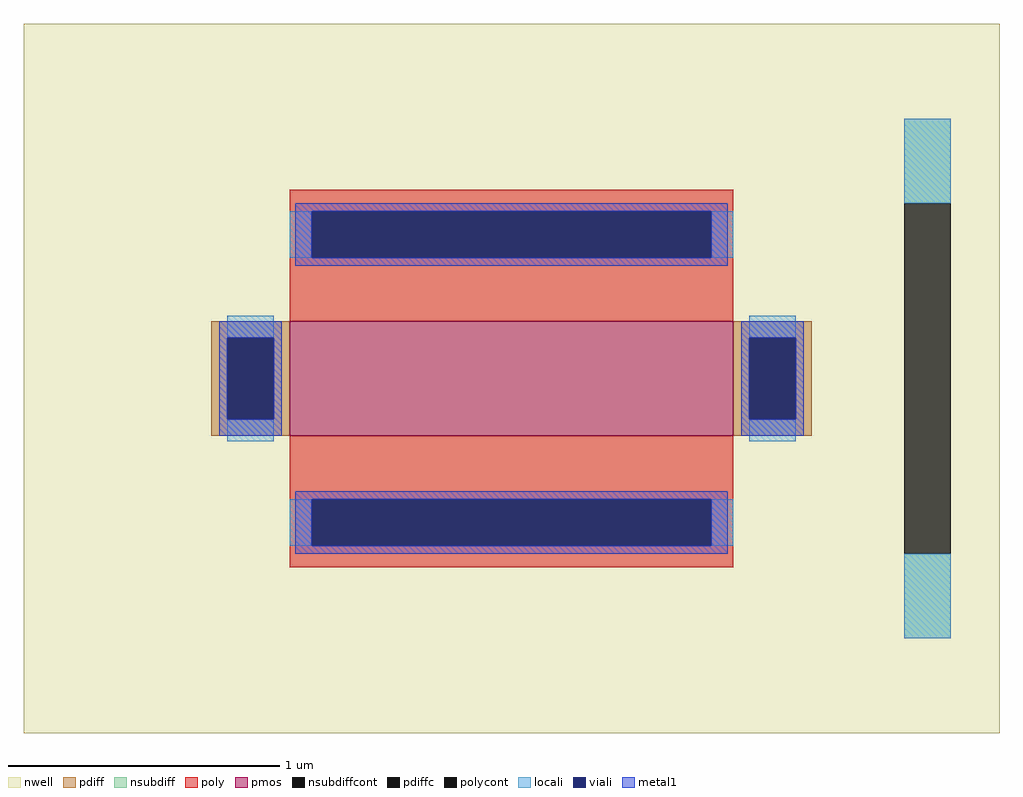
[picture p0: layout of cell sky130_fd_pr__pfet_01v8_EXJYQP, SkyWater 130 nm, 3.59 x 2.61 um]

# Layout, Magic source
magic
tech sky130A
magscale 1 2
<< nwell >>
rect -359 -261 359 261
<< pmos >>
rect -163 -42 163 42
<< pdiff >>
rect -221 30 -163 42
rect -221 -30 -209 30
rect -175 -30 -163 30
rect -221 -42 -163 -30
rect 163 30 221 42
rect 163 -30 175 30
rect 209 -30 221 30
rect 163 -42 221 -30
<< pdiffc >>
rect -209 -30 -175 30
rect 175 -30 209 30
<< nsubdiff >>
rect 289 129 323 191
rect 289 -191 323 -129
<< nsubdiffcont >>
rect 289 -129 323 129
<< poly >>
rect -163 123 163 139
rect -163 89 -147 123
rect 147 89 163 123
rect -163 42 163 89
rect -163 -89 163 -42
rect -163 -123 -147 -89
rect 147 -123 163 -89
rect -163 -139 163 -123
<< polycont >>
rect -147 89 147 123
rect -147 -123 147 -89
<< locali >>
rect 289 129 323 191
rect -163 89 -147 123
rect 147 89 163 123
rect -209 30 -175 46
rect -209 -46 -175 -30
rect 175 30 209 46
rect 175 -46 209 -30
rect -163 -123 -147 -89
rect 147 -123 163 -89
rect 289 -191 323 -129
<< viali >>
rect -147 89 147 123
rect -209 -30 -175 30
rect 175 -30 209 30
rect -147 -123 147 -89
<< metal1 >>
rect -159 123 159 129
rect -159 89 -147 123
rect 147 89 159 123
rect -159 83 159 89
rect -215 30 -169 42
rect -215 -30 -209 30
rect -175 -30 -169 30
rect -215 -42 -169 -30
rect 169 30 215 42
rect 169 -30 175 30
rect 209 -30 215 30
rect 169 -42 215 -30
rect -159 -89 159 -83
rect -159 -123 -147 -89
rect 147 -123 159 -89
rect -159 -129 159 -123
<< properties >>
string FIXED_BBOX -306 -208 306 208
string gencell sky130_fd_pr__pfet_01v8
string library sky130
string parameters w 0.42 l 1.633 m 1 nf 1 diffcov 100 polycov 100 guard 1 glc 1 grc 1 gtc 1 gbc 1 tbcov 100 rlcov 100 topc 1 botc 1 poverlap 0 doverlap 1 lmin 0.15 wmin 0.42 compatible {sky130_fd_pr__pfet_01v8  sky130_fd_pr__pfet_01v8_lvt sky130_fd_pr__pfet_01v8_hvt  sky130_fd_pr__pfet_g5v0d10v5} full_metal 1 viasrc 100 viadrn 100 viagate 100 viagb 0 viagr 0 viagl 0 viagt 0
<< end >>
